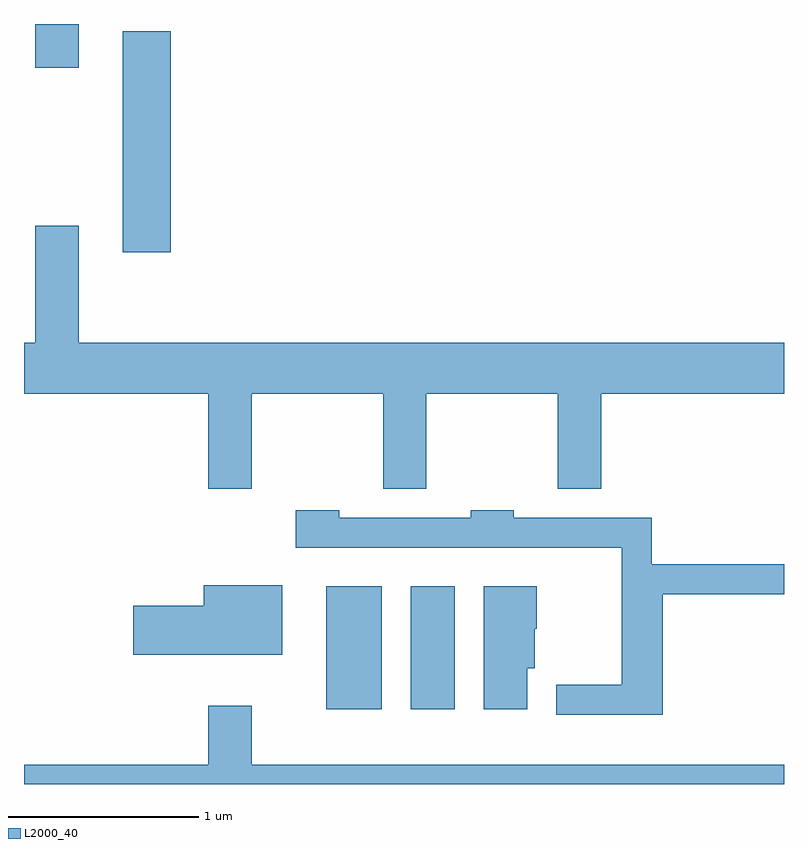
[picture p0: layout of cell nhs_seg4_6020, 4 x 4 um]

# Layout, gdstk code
import gdstk
lib = gdstk.Library(unit=1e-6, precision=1e-09)
def R(c, l, rs):  # rectangles x0, y0, x1, y1
    for r in rs: c.add(gdstk.rectangle(r[:2], r[2:], *l))
def P(c, l, *ps):  # polygons
    for p in ps: c.add(gdstk.Polygon(p, *l))
L2000_40 = (2000, 40)

nhs_seg4_6020 = lib.new_cell('nhs_seg4_6020')
R(nhs_seg4_6020, L2000_40, [(363.201,1326.376,363.494,1327.024), (363.646,1326.376,363.879,1327.024), (362.131,1328.781,362.384,1329.944), (361.671,1329.751,361.899,1329.982)])
P(nhs_seg4_6020, L2000_40, [(362.809,1328.036),(363.501,1328.036),(363.501,1327.536),(363.729,1327.536),(363.729,1328.036),(364.421,1328.036),(364.421,1327.536),(364.649,1327.536),(364.649,1328.036),(365.611,1328.036),(365.611,1328.304),(361.899,1328.304),(361.899,1328.919),(361.671,1328.919),(361.671,1328.304),(361.611,1328.304),(361.611,1328.036),(362.581,1328.036),(362.581,1327.536),(362.809,1327.536)],
  [(364.974,1326.981),(365.611,1326.981),(365.611,1327.139),(364.914,1327.139),(364.914,1327.384),(364.189,1327.384),(364.189,1327.424),(363.961,1327.424),(363.961,1327.384),(363.269,1327.384),(363.269,1327.424),(363.041,1327.424),(363.041,1327.226),(364.756,1327.226),(364.756,1326.504),(364.413,1326.504),(364.413,1326.346),(364.974,1326.346)],
  [(362.969,1327.029),(362.556,1327.029),(362.556,1326.919),(362.186,1326.919),(362.186,1326.661),(362.969,1326.661)],
  [(364.259,1326.591),(364.299,1326.591),(364.299,1326.8),(364.309,1326.8),(364.309,1327.024),(364.031,1327.024),(364.031,1326.376),(364.259,1326.376)],
  [(365.611,1326.084),(362.809,1326.084),(362.809,1326.394),(362.581,1326.394),(362.581,1326.084),(361.611,1326.084),(361.611,1325.982),(365.611,1325.982)])

lib.write_gds('nhs_seg4_6020.gds')
